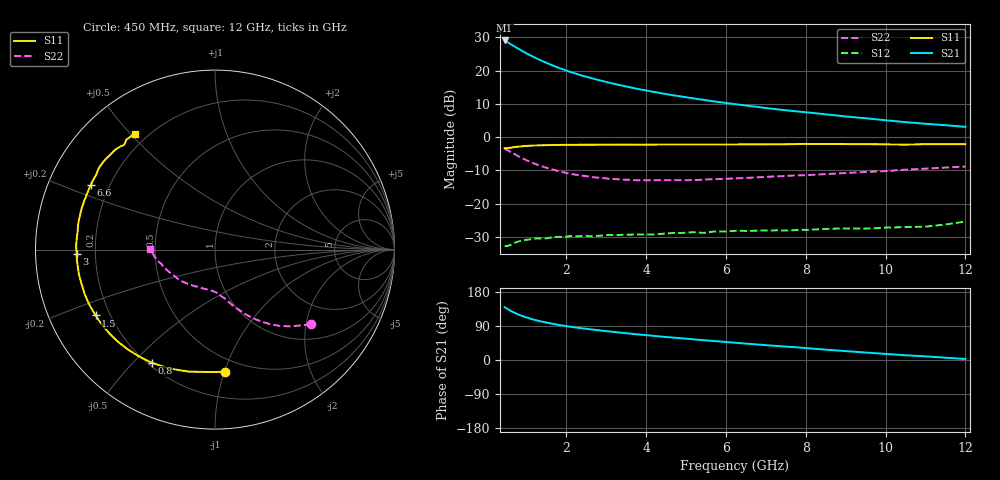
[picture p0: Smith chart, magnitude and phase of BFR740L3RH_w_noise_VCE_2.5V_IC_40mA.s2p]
! (c) 2012  Infineon Technologies AG, Munich
! Infineon Technologies  Discrete & RF Semiconductors
! BFR740L3RH
! VCE =  2.5 V,  IC =  40 mA
! Common Emitter S-Parameters:  May 2012
# GHz  S  MA  R  50
!  f  S11  S21  S12  S22
! GHz  MAG  ANG  MAG  ANG  MAG  ANG  MAG  ANG
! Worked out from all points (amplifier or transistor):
!   85 points, 450 MHz to 12 GHz, reference 50 ohm
!   highest |S21| = 29.1 dB at 450 MHz (marker M1)
!   |S21| within 3 dB of that: start of sweep to 867.8 MHz
!   unconditionally stable (mu >= 1): 3.914 GHz to end of sweep
!   at 1.8 GHz: K = 0.47, MSG = 25.4 dB, |S12| = -30.0 dB
!   at 4.6 GHz: K = 1.12, MAG = 18.7 dB, |S12| = -28.9 dB
!   at 12 GHz: K = 2.25, MAG = 7.9 dB, |S12| = -25.4 dB
!   lowest NFmin = 1.40 dB at 450 MHz
!   S11 on the Smith chart (normalised r, x): 450 MHz: 0.39, -1.01; 800 MHz: 0.22, -0.57; 1.5 GHz: 0.15, -0.25; 3 GHz: 0.13, -0.02; 6.6 GHz: 0.13, +0.24; 12 GHz: 0.15, +0.51
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0.45  0.6827 -85.2  28.5 139.2  0.0231 50.8  0.6772 -37.8
0.5  0.6824 -91.2  27.33 136.0  0.023 49.4  0.6503 -40.3
0.6  0.6955 -102.2  25.16 129.9  0.024 45.8  0.6007 -45.4
0.7  0.7109 -111.5  23.14 124.5  0.0259 42.3  0.5557 -49.9
0.8  0.722 -119.2  21.3 119.8  0.0271 39.0  0.5149 -53.7
0.9  0.7312 -125.8  19.67 115.8  0.0281 35.9  0.4802 -56.9
1  0.739 -131.5  18.23 112.2  0.0287 33.2  0.4504 -59.7
1.1  0.7453 -136.4  16.97 109.0  0.0292 31.2  0.4239 -62.2
1.3  0.754 -144.6  14.82 103.3  0.0299 28.6  0.3803 -66.4
1.5  0.7595 -151.1  13.11 98.7  0.0302 26.8  0.347 -70.0
1.7  0.7642 -156.5  11.7 94.6  0.0317 26.0  0.3211 -73.0
1.9  0.7672 -161.1  10.55 91.0  0.0317 24.8  0.2987 -75.8
2.4  0.7702 -170.0  8.425 83.6  0.0328 22.3  0.2641 -81.9
3  0.7718 -178.1  6.773 76.1  0.0337 23.6  0.2401 -88.1
3.6  0.7727 175.4  5.62 69.5  0.0342 24.2  0.2282 -95.5
4.3  0.7753 169.3  4.673 62.6  0.0348 24.6  0.2261 -103.1
5.3  0.7768 161.3  3.743 53.5  0.037 26.0  0.2281 -114.8
6.3  0.7789 154.4  3.102 44.9  0.0393 28.0  0.2416 -126.7
6.6  0.78 152.5  2.946 42.5  0.0391 29.0  0.2457 -130.4
8.5  0.7911 140.6  2.209 27.3  0.0418 31.3  0.2786 -151.2
10.5  0.7724 130.8  1.686 12.5  0.0445 36.0  0.325 -168.8
12  0.7853 124.7  1.431 2.6  0.0539 42.5  0.3626 179.8
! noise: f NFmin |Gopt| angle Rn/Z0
0.45  1.4  0.19  180  0.12
0.9  1.41  0.2  179  0.12
1.5  1.46  0.25  179  0.1
1.9  1.49  0.27  -179  0.11
2.4  1.55  0.29  -176  0.11
3.5  1.7  0.31  -173  0.11
5.5  2.05  0.35  -163  0.12
8  2.5  0.38  -152  0.19
10  2.86  0.45  -133  0.3
12  3.2  0.49  -121  0.51
